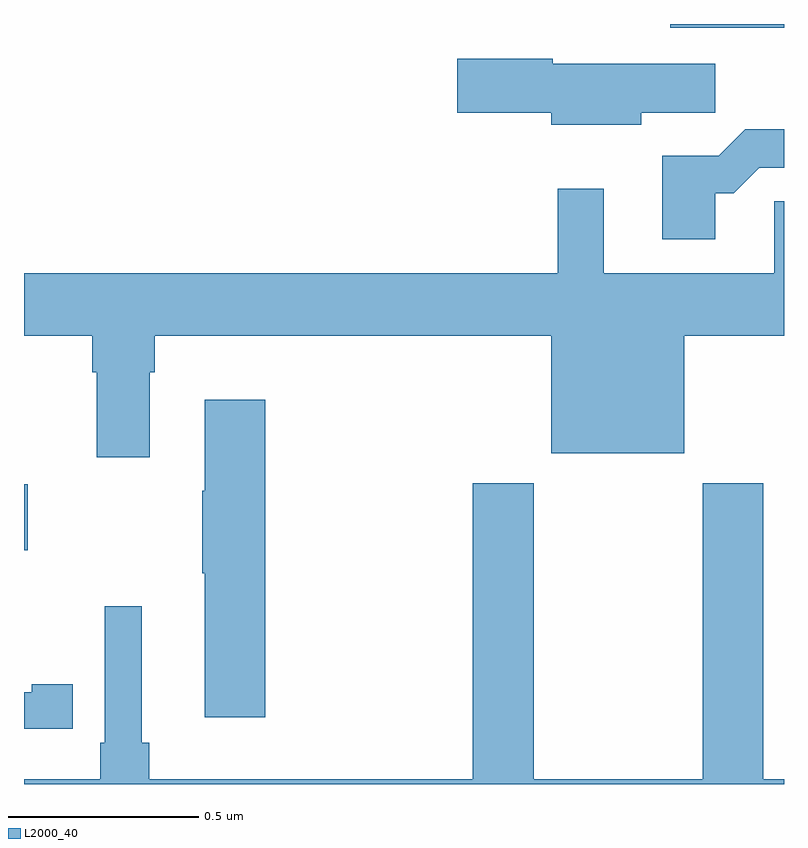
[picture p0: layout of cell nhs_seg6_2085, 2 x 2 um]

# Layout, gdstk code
import gdstk
lib = gdstk.Library(unit=1e-6, precision=1e-09)
def R(c, l, rs):  # rectangles x0, y0, x1, y1
    for r in rs: c.add(gdstk.rectangle(r[:2], r[2:], *l))
def P(c, l, *ps):  # polygons
    for p in ps: c.add(gdstk.Polygon(p, *l))
L2000_40 = (2000, 40)

nhs_seg6_2085 = lib.new_cell('nhs_seg6_2085')
R(nhs_seg6_2085, L2000_40, [(138,936.115,138.01,936.289), (139.7,937.49,140,937.5)])
P(nhs_seg6_2085, L2000_40, [(139.624,937.267),(139.819,937.267),(139.819,937.396),(139.392,937.396),(139.392,937.409),(139.14,937.409),(139.14,937.267),(139.388,937.267),(139.388,937.235),(139.624,937.235)],
  [(139.819,937.055),(139.868,937.055),(139.935,937.122),(140,937.122),(140,937.223),(139.898,937.223),(139.828,937.153),(139.679,937.153),(139.679,936.933),(139.819,936.933)],
  [(138.331,936.584),(138.344,936.584),(138.344,936.68),(139.388,936.68),(139.388,936.371),(139.738,936.371),(139.738,936.68),(140,936.68),(140,937.034),(139.974,937.034),(139.974,936.844),(139.525,936.844),(139.525,937.066),(139.404,937.066),(139.404,936.844),(138,936.844),(138,936.68),(138.179,936.68),(138.179,936.584),(138.191,936.584),(138.191,936.36),(138.331,936.36)],
  [(138.635,936.511),(138.476,936.511),(138.476,936.272),(138.469,936.272),(138.469,936.055),(138.476,936.055),(138.476,935.676),(138.635,935.676)],
  [(140,935.512),(139.946,935.512),(139.946,936.292),(139.786,936.292),(139.786,935.512),(139.341,935.512),(139.341,936.292),(139.181,936.292),(139.181,935.512),(138.329,935.512),(138.329,935.608),(138.31,935.608),(138.31,935.968),(138.213,935.968),(138.213,935.608),(138.2,935.608),(138.2,935.512),(138,935.512),(138,935.5),(140,935.5)],
  [(138.02,935.646),(138.128,935.646),(138.128,935.762),(138.02,935.762),(138.02,935.742),(138,935.742),(138,935.645),(138.02,935.645)])

lib.write_gds('nhs_seg6_2085.gds')
